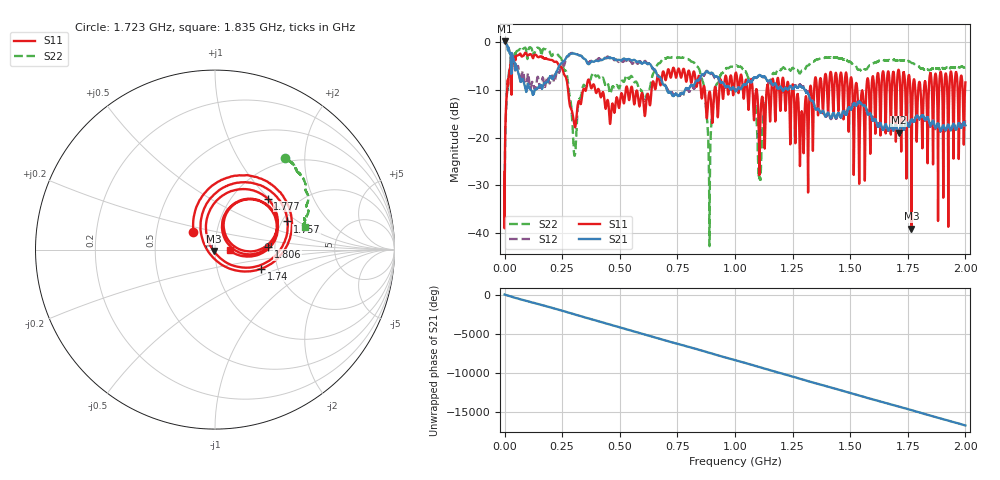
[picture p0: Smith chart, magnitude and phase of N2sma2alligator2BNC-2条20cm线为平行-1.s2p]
# HZ S RI R 50.000000000000
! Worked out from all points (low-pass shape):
!   19999 points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, 104.5 kHz to 2 GHz, reference 50 ohm
!   highest |S21| = 0.14 dB at 104.5 kHz (marker M1); lowest = -19.0 dB at 1.71 GHz (marker M2)
!   |S21| within 3 dB of the highest: start of sweep to 26.1 MHz; 274 MHz to 331.7 MHz (57.69 MHz wide, 19 % of centre)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
!   lowest |S11| = -39.0 dB at 1.766 GHz (marker M3), VSWR 1.02, Z = 49.2 - j0.756 ohm
!   |S11| at or under -10 dB: 409.5 MHz to 525.7 MHz (116.1 MHz wide, 24.8 % of centre); 555.2 MHz to 637.9 MHz (82.66 MHz wide, 13.9 % of centre); 1.254 GHz to 1.325 GHz (70.55 MHz wide, 5.47 % of centre)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
!   |S22| runs from -42.7 to -1.1 dB; largest |S21 - S12| = 0.11
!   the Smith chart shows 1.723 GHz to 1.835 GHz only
!   S11 on the Smith chart (normalised r, x): 1.723 GHz: 0.77, +0.16; 1.74 GHz: 1.64, -0.38; 1.757 GHz: 2.14, +0.82; 1.777 GHz: 1.44, +0.98; 1.806 GHz: 1.84, +0.06; 1.835 GHz: 1.18, -0.01
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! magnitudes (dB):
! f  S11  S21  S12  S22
! 104.5 kHz  -27.2  0.1  0.3  -30.1
! 58.61 MHz  -2.8  -6.3  -5.1  -1.8
! 240.6 MHz  -5.1  -4.7  -5.9  -3.1
! 303.7 MHz  -17.5  -2.4  -2.5  -23.8
! 333.4 MHz  -12.4  -2.9  -2.9  -10.9
! 666.7 MHz  -6.9  -7.2  -7.3  -4.6
! 839.6 MHz  -7.6  -8.0  -8.3  -5.3
! 888.6 MHz  -10.5  -6.5  -6.6  -37.1
! 1 GHz  -7.0  -10.1  -10.0  -5.0
! 1.107 GHz  -25.2  -6.9  -6.9  -28.2
! 1.16 GHz  -8.7  -8.7  -9.1  -7.1
! 1.333 GHz  -12.1  -12.3  -12.0  -4.1
! 1.667 GHz  -6.3  -18.5  -18.5  -3.8
! 1.71 GHz  -5.8  -19.0  -19.0  -3.8
! 1.723 GHz  -16.1  -17.3  -17.4  -3.9
! 1.74 GHz  -11.1  -17.3  -17.2  -3.9
! 1.757 GHz  -7.3  -17.5  -17.4  -4.0
! 1.766 GHz  -39.0  -16.2  -16.0  -4.4
! 1.777 GHz  -7.8  -16.6  -16.6  -4.5
! 1.806 GHz  -10.6  -15.7  -15.7  -5.5
! 1.835 GHz  -21.8  -15.7  -15.9  -5.7
! 2 GHz  -8.4  -17.4  -16.7  -5.3
